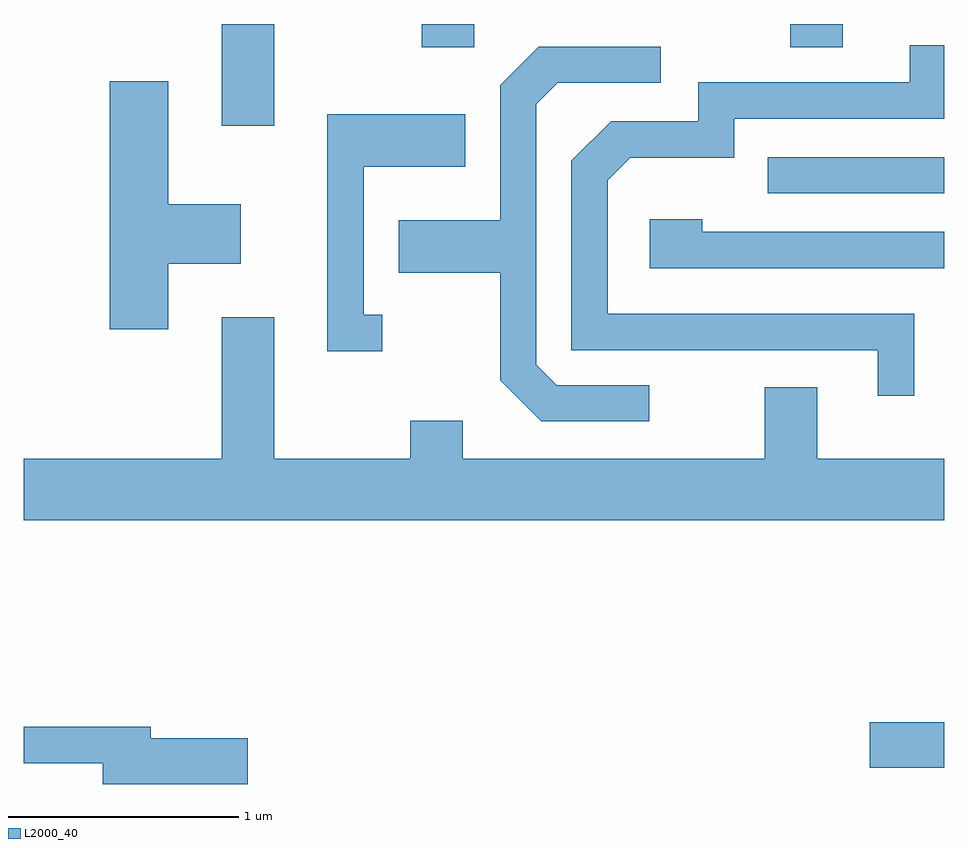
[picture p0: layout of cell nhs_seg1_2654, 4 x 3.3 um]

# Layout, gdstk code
import gdstk
lib = gdstk.Library(unit=1e-6, precision=1e-09)
def R(c, l, rs):  # rectangles x0, y0, x1, y1
    for r in rs: c.add(gdstk.rectangle(r[:2], r[2:], *l))
def P(c, l, *ps):  # polygons
    for p in ps: c.add(gdstk.Polygon(p, *l))
L2000_40 = (2000, 40)

nhs_seg1_2654 = lib.new_cell('nhs_seg1_2654')
R(nhs_seg1_2654, L2000_40, [(269.286,918.481,269.611,918.679), (268.843,920.976,269.611,921.134), (266.471,921.271,266.699,921.712), (267.341,921.611,267.569,921.712), (268.941,921.611,269.169,921.712)])
P(nhs_seg1_2654, L2000_40, [(269.479,920.454),(268.149,920.454),(268.149,921.034),(268.247,921.131),(268.699,921.131),(268.699,921.301),(269.611,921.301),(269.611,921.619),(269.461,921.619),(269.461,921.459),(268.541,921.459),(268.541,921.289),(268.164,921.289),(267.991,921.117),(267.991,920.296),(269.321,920.296),(269.321,920.098),(269.479,920.098)],
  [(268.328,920.144),(267.927,920.144),(267.839,920.232),(267.839,921.364),(267.932,921.456),(268.378,921.456),(268.378,921.614),(267.849,921.614),(267.681,921.447),(267.681,920.859),(267.241,920.859),(267.241,920.631),(267.681,920.631),(267.681,920.164),(267.859,919.986),(268.328,919.986)],
  [(266.239,920.671),(266.554,920.671),(266.554,920.929),(266.239,920.929),(266.239,921.464),(265.986,921.464),(265.986,920.386),(266.239,920.386)],
  [(267.168,920.449),(267.089,920.449),(267.089,921.091),(267.529,921.091),(267.529,921.319),(266.931,921.319),(266.931,920.291),(267.168,920.291)],
  [(269.611,920.809),(268.559,920.809),(268.559,920.864),(268.331,920.864),(268.331,920.651),(269.611,920.651)],
  [(269.611,919.824),(269.059,919.824),(269.059,920.134),(268.831,920.134),(268.831,919.824),(267.519,919.824),(267.519,919.989),(267.291,919.989),(267.291,919.824),(266.699,919.824),(266.699,920.439),(266.471,920.439),(266.471,919.824),(265.611,919.824),(265.611,919.556),(269.611,919.556)],
  [(266.584,918.609),(266.164,918.609),(266.164,918.659),(265.611,918.659),(265.611,918.501),(265.956,918.501),(265.956,918.411),(266.584,918.411)])

lib.write_gds('nhs_seg1_2654.gds')
